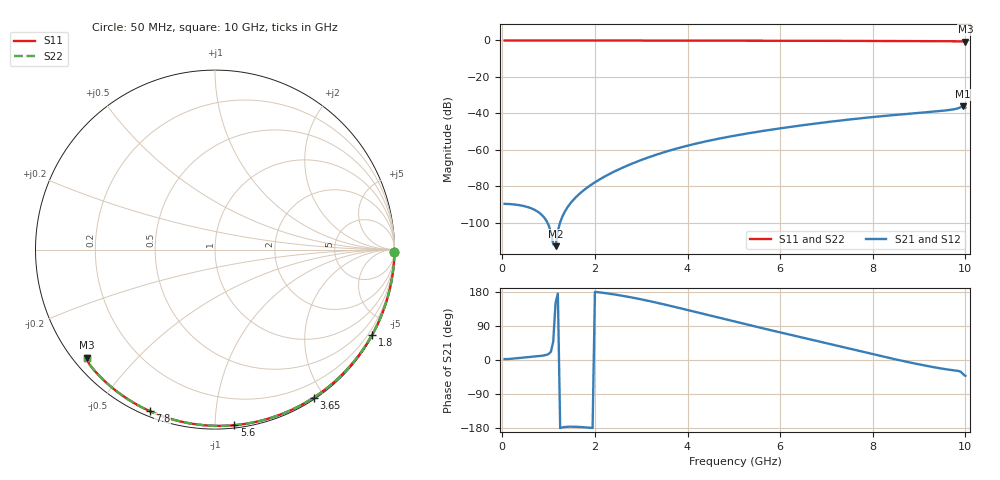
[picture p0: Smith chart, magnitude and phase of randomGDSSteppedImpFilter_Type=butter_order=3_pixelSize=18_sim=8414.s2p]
! freq	dB(S11)	phase(S11)	dB(S12)	phase(S12)
!  dB(S21)	phase(S21)	dB(S22)	phase(S22)
!S-par simulation data
#  GHz  S  DB  R 50
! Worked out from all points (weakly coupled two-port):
!   200 points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, 50 MHz to 10 GHz, reference 50 ohm
!   highest |S21| = -36.26 dB at 9.95 GHz (marker M1); lowest = -113.0 dB at 1.15 GHz (marker M2)
!   lowest |S11| = -0.6 dB at 10 GHz (marker M3), VSWR 29.39, Z = 1.93 - j18.3 ohm
!   |S11| at or under -10 dB: nowhere
!   |S22| runs from -0.6 to 0.0 dB; largest |S21 - S12| = 0
!   S11 on the Smith chart (normalised r, x): 50 MHz: open; 1.8 GHz: 0.03, -3.94; 3.65 GHz: 0.02, -1.87; 5.6 GHz: 0.02, -1.12; 7.8 GHz: 0.02, -0.67; 10 GHz: 0.04, -0.37
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0.05  -0.00 -0.8  -89.74 2.5  -89.74 2.5  -0.00 -0.8
0.6  -0.01 -9.6  -91.94 8.1  -91.94 8.1  -0.01 -9.6
1.15  -0.02 -18.3  -112.98 150.5  -112.98 150.5  -0.02 -18.3
1.75  -0.04 -27.7  -82.42 -177.3  -82.42 -177.3  -0.04 -27.7
1.8  -0.04 -28.5  -81.42 -177.8  -81.42 -177.8  -0.04 -28.5
1.85  -0.04 -29.3  -80.48 -178.3  -80.48 -178.3  -0.04 -29.3
1.9  -0.04 -30.0  -79.58 -178.8  -79.58 -178.8  -0.04 -30.0
2.25  -0.05 -35.4  -74.19 176.1  -74.19 176.1  -0.05 -35.4
2.65  -0.05 -41.5  -69.26 168.3  -69.26 168.3  -0.05 -41.5
3  -0.06 -46.8  -65.66 160.0  -65.66 160.0  -0.06 -46.8
3.4  -0.07 -52.7  -62.13 149.4  -62.13 149.4  -0.07 -52.7
3.65  -0.08 -56.4  -60.20 142.3  -60.20 142.3  -0.08 -56.4
4.3  -0.09 -65.7  -55.96 122.8  -55.96 122.8  -0.09 -65.7
5.05  -0.12 -76.2  -52.14 100.4  -52.14 100.4  -0.12 -76.2
5.6  -0.14 -83.7  -49.81 84.3  -49.81 84.3  -0.14 -83.7
6.7  -0.19 -98.1  -45.84 52.9  -45.84 52.9  -0.19 -98.1
7.8  -0.26 -112.1  -42.58 21.2  -42.58 21.2  -0.26 -112.1
8.35  -0.30 -118.9  -41.22 5.5  -41.22 5.5  -0.30 -118.9
9.6  -0.43 -134.3  -38.34 -24.8  -38.34 -24.8  -0.43 -134.3
9.8  -0.46 -136.9  -37.55 -28.0  -37.55 -28.0  -0.46 -136.9
9.95  -0.53 -139.1  -36.26 -37.1  -36.26 -37.1  -0.53 -139.1
10  -0.59 -139.8  -36.84 -42.0  -36.84 -42.0  -0.60 -139.8
